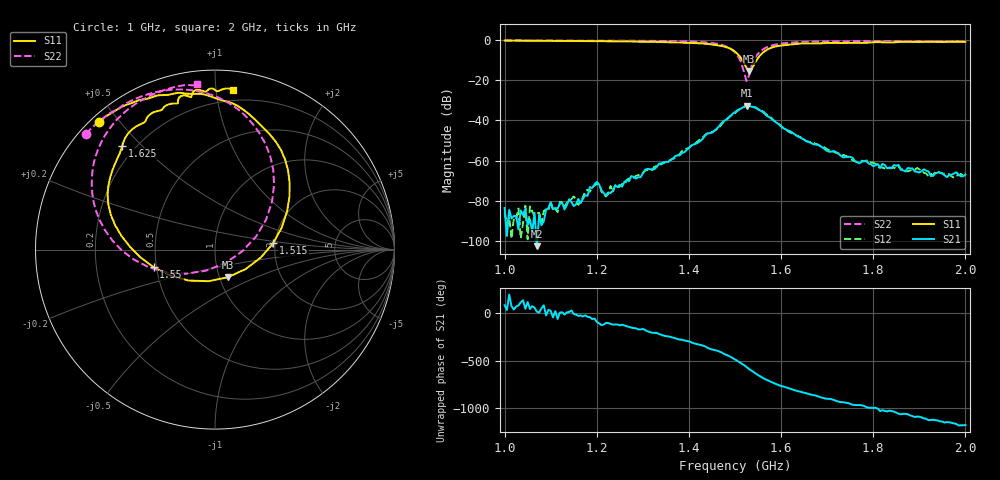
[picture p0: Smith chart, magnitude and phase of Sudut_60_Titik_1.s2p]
# Hz S RI R 50
! CMT, C1220, 16058040, 17.2.0/1
! Date: 14/08/2018 12:54:22
! Data: Format (Calibration Info)
! Freq  S11: Re/Im (F2)  S21: Re/Im (F2)  S12: Re/Im (F2)  S22: Re/Im (F2)
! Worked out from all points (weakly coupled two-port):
!   201 points, 1 GHz to 2 GHz, reference 50 ohm
!   highest |S21| = -32.63 dB at 1.525 GHz (marker M1); lowest = -102.5 dB at 1.07 GHz (marker M2)
!   lowest |S11| = -15.4 dB at 1.53 GHz (marker M3), VSWR 1.41, Z = 54.8 - j17.4 ohm
!   |S11| at or under -10 dB: 1.516 GHz to 1.547 GHz (31.54 MHz wide, 2.06 % of centre)
!   |S22| runs from -20.5 to -0.3 dB; largest |S21 - S12| = 0.00094
!   S11 on the Smith chart (normalised r, x): 1 GHz: 0.02, +0.44; 1.515 GHz: 1.95, +0.15; 1.55 GHz: 0.48, -0.11; 1.625 GHz: 0.15, +0.44; 2 GHz: 0.13, +1.11
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1e9  -0.6452 0.7128  9.95e-06 6.61e-05  -5.06e-05 4.45e-06  -0.7194 0.6452
1.07e9  -0.5646 0.7678  7.29e-06 1.78e-06  -2.76e-06 4.84e-05  -0.6674 0.6954
1.17e9  -0.452 0.8214  9.17e-05 -6.65e-05  0.000116 -4.5e-05  -0.5769 0.765
1.2e9  -0.4068 0.8353  -1.15e-05 -0.000296  -2e-05 -0.000261  -0.5434 0.7771
1.22e9  -0.3771 0.8408  -3.14e-05 -0.000134  -1.58e-05 -0.000128  -0.531 0.7904
1.23e9  -0.3597 0.8458  -6.45e-05 -0.000143  -5.95e-05 -0.000228  -0.5201 0.7997
1.235e9  -0.3512 0.8488  -9.53e-05 -0.000153  -8.22e-05 -0.000143  -0.5141 0.8035
1.24e9  -0.3426 0.8518  -0.000118 -0.000213  -0.000126 -0.000208  -0.5081 0.8073
1.335e9  -0.1705 0.8702  -0.000636 0.000547  -0.000547 0.000579  -0.3604 0.8695
1.45e9  0.2077 0.7385  0.0046 -0.00182  0.00463 -0.00214  0.0463 0.8332
1.5e9  0.4151 0.2963  -0.00958 -0.0129  -0.00902 -0.0122  0.3293 0.3606
1.515e9  0.3238 0.0354  -0.02 -0.00294  -0.0201 -0.00345  0.2285 0.0724
1.525e9  0.1706 -0.1087  -0.021 0.0103  -0.0212 0.0103  0.0577 -0.0752
1.53e9  0.0713 -0.1542  -0.0159 0.0163  -0.016 0.0164  -0.0509 -0.1177
1.55e9  -0.3411 -0.0989  0.00677 0.0177  0.00606 0.018  -0.4493 -0.0572
1.58e9  -0.5946 0.2525  0.0108 -0.00121  0.0111 -0.00166  -0.6762 0.2646
1.625e9  -0.5166 0.5786  0.000586 -0.00488  0.00068 -0.00466  -0.6501 0.5613
1.67e9  -0.3989 0.7059  -0.00196 -0.00165  -0.00211 -0.00173  -0.567 0.7007
1.835e9  -0.1337 0.8493  0.000374 0.000559  0.000415 0.000495  -0.3158 0.8775
1.895e9  -0.0527 0.8801  0.000522 -5.91e-05  0.000657 -2.95e-05  -0.2333 0.9037
1.92e9  -0.021 0.898  0.000381 -0.000378  0.000333 -0.000224  -0.2002 0.9112
2e9  0.0999 0.8885  -4.5e-05 -0.000449  -6.53e-05 -0.000484  -0.0983 0.9221
